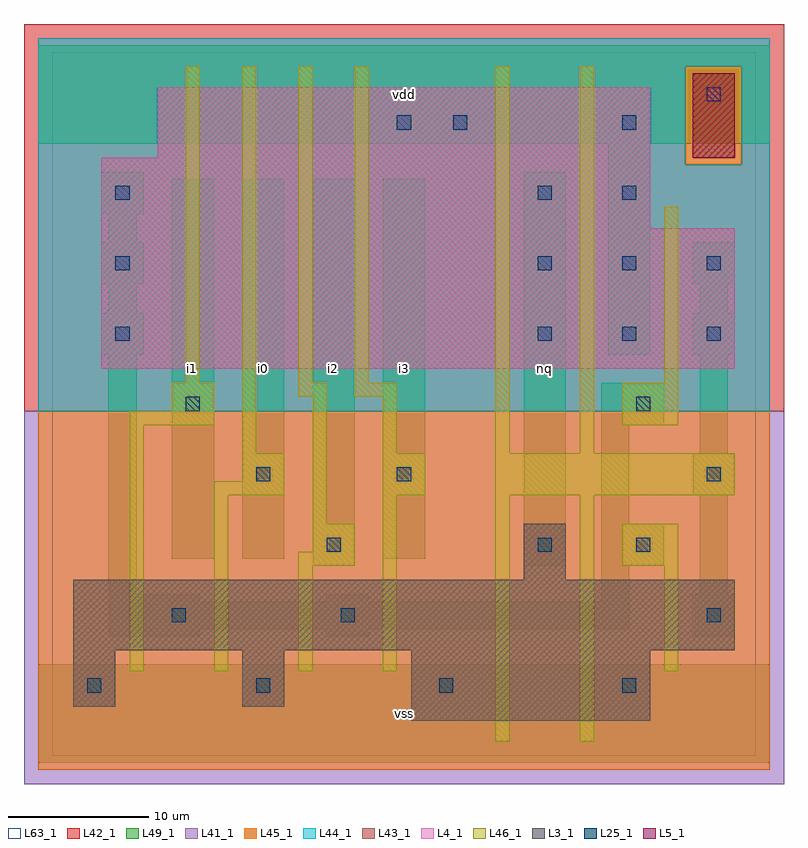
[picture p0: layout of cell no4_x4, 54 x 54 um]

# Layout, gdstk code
import gdstk
lib = gdstk.Library(unit=1e-6, precision=1e-09)
def R(c, l, rs):  # rectangles x0, y0, x1, y1
    for r in rs: c.add(gdstk.rectangle(r[:2], r[2:], *l))
def A(c, l, x, y, w, h, nx, ny, dx, dy):  # array of equal rectangles
    R(c, l, [(x+i*dx, y+j*dy, x+i*dx+w, y+j*dy+h) for i in range(nx) for j in range(ny)])
L3_1 = (3, 1)
L4_1 = (4, 1)
L5_1 = (5, 1)
L25_1 = (25, 1)
L41_1 = (41, 1)
L42_1 = (42, 1)
L43_1 = (43, 1)
L44_1 = (44, 1)
L45_1 = (45, 1)
L46_1 = (46, 1)
L49_1 = (49, 1)
L63_1 = (63, 1)

no4_x4 = lib.new_cell('no4_x4')
R(no4_x4, L3_1, [(25.5,2.5,42.5,7.5), (1.5,3.5,4.5,7.5), (13.5,3.5,16.5,7.5), (1.5,7.5,48.5,12.5), (33.5,12.5,36.5,16.5)])
R(no4_x4, L4_1, [(3.5,27.5,48.5,37.5), (3.5,37.5,42.5,42.5), (7.5,42.5,42.5,47.5)])
R(no4_x4, L5_1, [(45.5,42.5,48.5,48.5)])
A(no4_x4, L25_1, 14.5, 4.5, 1, 1, 3, 1, 13, 0)
A(no4_x4, L25_1, 4.5, 29.5, 1, 1, 1, 3, 0, 5)
A(no4_x4, L25_1, 34.5, 29.5, 1, 1, 3, 2, 6, 5)
R(no4_x4, L25_1, [(2.5,4.5,3.5,5.5), (8.5,9.5,9.5,10.5), (20.5,9.5,21.5,10.5), (46.5,9.5,47.5,10.5), (19.5,14.5,20.5,15.5), (34.5,14.5,35.5,15.5), (41.5,14.5,42.5,15.5), (14.5,19.5,15.5,20.5), (24.5,19.5,25.5,20.5), (46.5,19.5,47.5,20.5), (9.5,24.5,10.5,25.5), (41.5,24.5,42.5,25.5), (34.5,39.5,35.5,40.5), (40.5,39.5,41.5,40.5), (24.5,44.5,25.5,45.5), (28.5,44.5,29.5,45.5), (40.5,44.5,41.5,45.5), (46.5,46.5,47.5,47.5)])
R(no4_x4, L41_1, [(-2,-2,52,24.5)])
R(no4_x4, L42_1, [(-2,24.5,52,52)])
R(no4_x4, L43_1, [(25.5,2.5,42.5,7.5), (1.5,3.5,4.5,7.5), (13.5,3.5,16.5,7.5), (1.5,7.5,48.5,12.5), (33.5,12.5,36.5,16.5), (3.5,27.5,48.5,37.5), (3.5,37.5,42.5,42.5), (7.5,42.5,42.5,47.5), (45.5,42.5,48.5,48.5)])
R(no4_x4, L44_1, [(-1,24.5,51,42), (-1,42,45,49), (49,42,51,49), (-1,49,51,51)])
R(no4_x4, L45_1, [(-1,-1,51,24.5), (45,42,49,49)])
R(no4_x4, L46_1, [(31.5,1,32.5,18.5), (37.5,1,38.5,18.5), (5.5,6,6.5,23.5), (11.5,6,12.5,18.5), (17.5,6,18.5,13.5), (23.5,6,24.5,18.5), (43.5,6,44.5,13.5), (17.5,13.5,21.5,14.5), (40.5,13.5,44.5,16.5), (18.5,14.5,21.5,16.5), (18.5,16.5,19.5,25.5), (11.5,18.5,16.5,19.5), (23.5,18.5,26.5,21.5), (31.5,18.5,48.5,21.5), (13.5,19.5,16.5,21.5), (13.5,21.5,14.5,49), (23.5,21.5,24.5,25.5), (31.5,21.5,32.5,49), (37.5,21.5,38.5,49), (5.5,23.5,11.5,24.5), (40.5,23.5,44.5,26.5), (8.5,24.5,11.5,26.5), (17.5,25.5,19.5,26.5), (21.5,25.5,24.5,26.5), (9.5,26.5,10.5,49), (17.5,26.5,18.5,49), (21.5,26.5,22.5,49), (43.5,26.5,44.5,39)])
A(no4_x4, L49_1, 45.5, 8.5, 3, 3, 1, 3, 0, 10)
A(no4_x4, L49_1, 3.5, 28.5, 3, 3, 1, 3, 0, 5)
R(no4_x4, L49_1, [(-1,-0.5,51,6.5), (4,8.5,10.5,9), (19.5,8.5,22.5,9), (4,9,41,11), (4,11,10.5,11.5), (19.5,11,22.5,11.5), (39,11,41,13.5), (4,11.5,6,28.5), (46,11.5,48,18.5), (18.5,13.5,21.5,41), (33.5,13.5,36.5,41.5), (39,13.5,43.5,16.5), (8.5,14,11.5,41), (13.5,14,16.5,41), (23.5,14,26.5,41), (39,16.5,41,23.5), (46,21.5,48,28.5), (39,23.5,43.5,26.5), (39.5,28.5,42.5,43.5), (4,31.5,6,33.5), (46,31.5,48,33.5), (45.5,33.5,48.5,36.5), (4,36.5,6,38.5), (-1,43.5,51,50.5)])
R(no4_x4, L63_1, [(0,0,50,50)])
no4_x4.add(gdstk.Label('i1', (10,27.5), layer=49, texttype=1))
no4_x4.add(gdstk.Label('i1', (10,27.5), layer=49, texttype=1))
no4_x4.add(gdstk.Label('i2', (20,27.5), layer=49, texttype=1))
no4_x4.add(gdstk.Label('i0', (15,27.5), layer=49, texttype=1))
no4_x4.add(gdstk.Label('i2', (20,27.5), layer=49, texttype=1))
no4_x4.add(gdstk.Label('i0', (15,27.5), layer=49, texttype=1))
no4_x4.add(gdstk.Label('vss', (25,3), layer=49, texttype=1))
no4_x4.add(gdstk.Label('vss', (25,3), layer=49, texttype=1))
no4_x4.add(gdstk.Label('i3', (25,27.5), layer=49, texttype=1))
no4_x4.add(gdstk.Label('i3', (25,27.5), layer=49, texttype=1))
no4_x4.add(gdstk.Label('nq', (35,27.5), layer=49, texttype=1))
no4_x4.add(gdstk.Label('nq', (35,27.5), layer=49, texttype=1))
no4_x4.add(gdstk.Label('vdd', (25,47), layer=49, texttype=1))
no4_x4.add(gdstk.Label('vdd', (25,47), layer=49, texttype=1))

lib.write_gds('no4_x4.gds')
